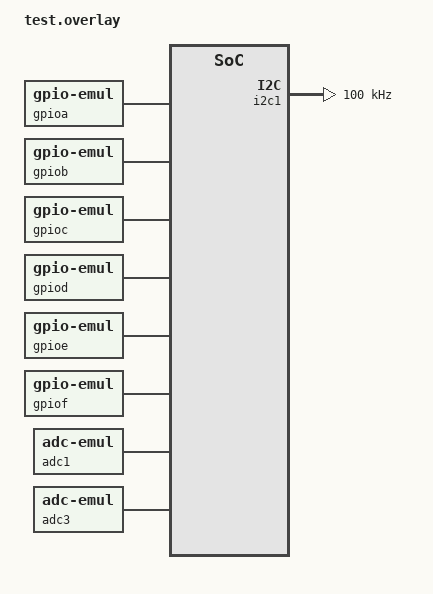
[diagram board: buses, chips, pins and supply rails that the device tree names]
/ {
    opendeck_retained: opendeck-retained {
    };

    gpioa: gpioa {
        compatible = "zephyr,gpio-emul";
        rising-edge;
        falling-edge;
        high-level;
        low-level;
        gpio-controller;
        #gpio-cells = <2>;
        status = "okay";
    };

    gpiob: gpiob {
        compatible = "zephyr,gpio-emul";
        rising-edge;
        falling-edge;
        high-level;
        low-level;
        gpio-controller;
        #gpio-cells = <2>;
        status = "okay";
    };

    gpioc: gpioc {
        compatible = "zephyr,gpio-emul";
        rising-edge;
        falling-edge;
        high-level;
        low-level;
        gpio-controller;
        #gpio-cells = <2>;
        status = "okay";
    };

    gpiod: gpiod {
        compatible = "zephyr,gpio-emul";
        rising-edge;
        falling-edge;
        high-level;
        low-level;
        gpio-controller;
        #gpio-cells = <2>;
        status = "okay";
    };

    gpioe: gpioe {
        compatible = "zephyr,gpio-emul";
        rising-edge;
        falling-edge;
        high-level;
        low-level;
        gpio-controller;
        #gpio-cells = <2>;
        status = "okay";
    };

    gpiof: gpiof {
        compatible = "zephyr,gpio-emul";
        rising-edge;
        falling-edge;
        high-level;
        low-level;
        gpio-controller;
        #gpio-cells = <2>;
        status = "okay";
    };

    adc1: adc1 {
        compatible = "zephyr,adc-emul";
        nchannels = <20>;
        #io-channel-cells = <1>;
        status = "okay";
    };

    adc3: adc3 {
        compatible = "zephyr,adc-emul";
        nchannels = <10>;
        #io-channel-cells = <1>;
        status = "okay";
    };

    usart6: usart6 {
        compatible = "zephyr,uart-emul";
        current-speed = <115200>;
        status = "okay";
    };

    i2c1: i2c1@600 {
        compatible = "zephyr,i2c-emul-controller";
        #address-cells = <1>;
        #size-cells = <0>;
        #forward-cells = <1>;
        clock-frequency = <100000>;
        reg = <0x600 4>;
        status = "okay";
    };

    test {
        partitions {
            compatible = "fixed-partitions";
            #address-cells = <1>;
            #size-cells = <1>;

            factory_partition: partition@0 {
                reg = <0x0 0x4000>;
            };

            emueeprom_page1_partition: partition@4000 {
                reg = <0x4000 0x4000>;
            };

            emueeprom_page2_partition: partition@8000 {
                reg = <0x8000 0x4000>;
            };
        };
    };
};

&flash0 {
    partitions {
        boot_partition: partition@0 {
            compatible = "zephyr,mapped-partition";
            label = "boot";
            reg = <0x00000000 0x0000c000>;
        };

        code_partition: partition@c000 {
            compatible = "zephyr,mapped-partition";
            label = "code-partition";
            reg = <0x0000c000 0x00069000>;
        };

        dfu_storage_partition: partition@75000 {
            compatible = "zephyr,mapped-partition";
            label = "dfu-storage";
            reg = <0x00075000 0x00001000>;
        };
    };
};

opendeck_partition_boot: &boot_partition {};

opendeck_partition_app: &code_partition {};

opendeck_partition_staged_dfu: &dfu_storage_partition {};
